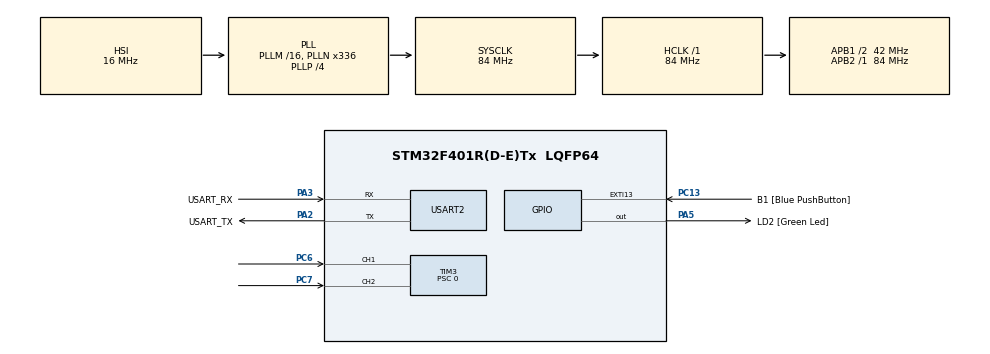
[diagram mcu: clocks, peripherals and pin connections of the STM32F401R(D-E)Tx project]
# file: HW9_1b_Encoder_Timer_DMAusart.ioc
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Dma.Request0=USART2_TX
Dma.USART2_TX.0.Direction=DMA_MEMORY_TO_PERIPH
Dma.USART2_TX.0.FIFOMode=DMA_FIFOMODE_DISABLE
Dma.USART2_TX.0.Instance=DMA1_Stream6
Dma.USART2_TX.0.MemDataAlignment=DMA_MDATAALIGN_BYTE
Dma.USART2_TX.0.MemInc=DMA_MINC_ENABLE
Dma.USART2_TX.0.Mode=DMA_NORMAL
Dma.USART2_TX.0.PeriphDataAlignment=DMA_PDATAALIGN_BYTE
Dma.USART2_TX.0.PeriphInc=DMA_PINC_DISABLE
Dma.USART2_TX.0.Priority=DMA_PRIORITY_LOW
Mcu.Family=STM32F4
Mcu.Name=STM32F401R(D-E)Tx
Mcu.Package=LQFP64
NVIC.DMA1_Stream6_IRQn=true\:0\:0\:false\:false\:true\:false\:true\:true
NVIC.PriorityGroup=NVIC_PRIORITYGROUP_0
NVIC.TIM2_IRQn=true\:0\:0\:false\:false\:true\:true\:true\:true
NVIC.TIM3_IRQn=true\:0\:0\:false\:false\:true\:true\:true\:true
NVIC.USART2_IRQn=true\:0\:0\:false\:false\:true\:true\:true\:true
PA13.GPIO_Label=TMS
PA13.Mode=Serial_Wire
PA13.Signal=SYS_JTMS-SWDIO
PA14.GPIO_Label=TCK
PA14.Mode=Serial_Wire
PA14.Signal=SYS_JTCK-SWCLK
PA2.GPIO_Label=USART_TX
PA2.GPIO_Mode=GPIO_MODE_AF_PP
PA2.GPIO_PuPd=GPIO_NOPULL
PA2.GPIO_Speed=GPIO_SPEED_FREQ_LOW
PA2.Mode=Asynchronous
PA2.Signal=USART2_TX
PA3.GPIO_Label=USART_RX
PA3.GPIO_Mode=GPIO_MODE_AF_PP
PA3.GPIO_PuPd=GPIO_NOPULL
PA3.GPIO_Speed=GPIO_SPEED_FREQ_LOW
PA3.Mode=Asynchronous
PA3.Signal=USART2_RX
PA5.GPIO_Label=LD2 [Green Led]
PA5.GPIO_Mode=GPIO_MODE_OUTPUT_PP
PA5.GPIO_PuPd=GPIO_NOPULL
PA5.GPIO_Speed=GPIO_SPEED_FREQ_LOW
PA5.Signal=GPIO_Output
PB3.GPIO_Label=SWO
PB3.Signal=SYS_JTDO-SWO
PC13-ANTI_TAMP.GPIO_Label=B1 [Blue PushButton]
PC13-ANTI_TAMP.GPIO_ModeDefaultEXTI=GPIO_MODE_IT_FALLING
PC13-ANTI_TAMP.GPIO_PuPd=GPIO_NOPULL
PC13-ANTI_TAMP.Signal=GPXTI13
PC14-OSC32_IN.Mode=LSE-External-Oscillator
PC14-OSC32_IN.Signal=RCC_OSC32_IN
PC15-OSC32_OUT.Mode=LSE-External-Oscillator
PC15-OSC32_OUT.Signal=RCC_OSC32_OUT
PC6.Signal=S_TIM3_CH1
PC7.Signal=S_TIM3_CH2
PH0\ -\ OSC_IN.Mode=HSE-External-Clock-Source
PH0\ -\ OSC_IN.Signal=RCC_OSC_IN
PH1\ -\ OSC_OUT.Mode=HSE-External-Clock-Source
PH1\ -\ OSC_OUT.Signal=RCC_OSC_OUT
ProjectManager.HeapSize=0x200
ProjectManager.StackSize=0x400
ProjectManager.TargetToolchain=STM32CubeIDE
RCC.48MHZClocksFreq_Value=48000000
RCC.AHBFreq_Value=84000000
RCC.APB1CLKDivider=RCC_HCLK_DIV2
RCC.APB1Freq_Value=42000000
RCC.APB1TimFreq_Value=84000000
RCC.APB2Freq_Value=84000000
RCC.APB2TimFreq_Value=84000000
RCC.CortexFreq_Value=84000000
RCC.HCLKFreq_Value=84000000
RCC.HSE_VALUE=8000000
RCC.HSI_VALUE=16000000
RCC.PLLN=336
RCC.PLLP=RCC_PLLP_DIV4
RCC.PLLQ=7
RCC.SYSCLKFreq_VALUE=84000000
RCC.SYSCLKSource=RCC_SYSCLKSOURCE_PLLCLK
RCC.VCOOutputFreq_Value=336000000
SH.S_TIM3_CH1.0=TIM3_CH1,Encoder_Interface
SH.S_TIM3_CH2.0=TIM3_CH2,Encoder_Interface
TIM2.Period=10000-1
TIM2.Prescaler=8400-1
TIM3.ClockDivision=TIM_CLOCKDIVISION_DIV4
TIM3.IC1Filter=15
TIM3.IC2Filter=15
TIM3.Period=65535
TIM3.Prescaler=0
USART2.VirtualMode=VM_ASYNC
VP_TIM2_VS_ClockSourceINT.Mode=Internal
board=NUCLEO-F401RE

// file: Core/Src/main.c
/* USER CODE BEGIN Header */
/**
  ******************************************************************************
  * @file           : main.c
  * @brief          : Main program body
  ******************************************************************************
  * @attention
  *
  * Copyright (c) 2022 STMicroelectronics.
  * All rights reserved.
  *
  * This software is licensed under terms that can be found in the LICENSE file
  * in the root directory of this software component.
  * If no LICENSE file comes with this software, it is provided AS-IS.
  *
  ******************************************************************************
  */
/* USER CODE END Header */
#include "main.h"

TIM_HandleTypeDef htim2;
TIM_HandleTypeDef htim3;

UART_HandleTypeDef huart2;
DMA_HandleTypeDef hdma_usart2_tx;

/* USER CODE BEGIN PV */

	char string[32];
	int len = 0;
	float res;
	int16_t count_old, count_new = 0;
	int16_t delta;

/* USER CODE END PV */

void SystemClock_Config(void);
static void MX_GPIO_Init(void);
static void MX_DMA_Init(void);
static void MX_USART2_UART_Init(void);
static void MX_TIM3_Init(void);
static void MX_TIM2_Init(void);

/* USER CODE BEGIN 0 */

void HAL_TIM_PeriodElapsedCallback(TIM_HandleTypeDef* htim){
	if(htim == &htim2){

	//using int16_t prevents the use of "if" for handling over/underflows
    //when doing the subtraction, values with MSB = 1 are considered as 2 complement
    //so their actual absolute value is calculated and it's much smaller respect to
    //the one obtained by considering it them as unsigned.
    //So the value 111111111111111 is actually considered as -1 instead of 2^16-1
    //The same principle applies for all the values with MSB = 1

		count_old = count_new;
		count_new = __HAL_TIM_GET_COUNTER(&htim3);

		delta = count_new-count_old;

		res = (delta)*60.0/24.0;
		len = snprintf(string, sizeof(string), "Velocity: %f rpms\r\n", res);

		HAL_UART_Transmit_DMA(&huart2, (uint8_t*)&string, len);

	}
}

/* USER CODE END 0 */

int main(void)
{

  /* MCU Configuration--------------------------------------------------------*/

  /* Reset of all peripherals, Initializes the Flash interface and the Systick. */
  HAL_Init();

  /* Configure the system clock */
  SystemClock_Config();

  /* Initialize all configured peripherals */
  MX_GPIO_Init();
  MX_DMA_Init();
  MX_USART2_UART_Init();
  MX_TIM3_Init();
  MX_TIM2_Init();
  /* USER CODE BEGIN 2 */

  HAL_TIM_Encoder_Start(&htim3, TIM_CHANNEL_ALL);

  HAL_TIM_Base_Start_IT(&htim2);

  /* USER CODE END 2 */

  /* Infinite loop */
  while (1)
  {

  }
}

void SystemClock_Config(void)
{
  RCC_OscInitTypeDef RCC_OscInitStruct = {0};
  RCC_ClkInitTypeDef RCC_ClkInitStruct = {0};

  /** Configure the main internal regulator output voltage
  */
  __HAL_RCC_PWR_CLK_ENABLE();
  __HAL_PWR_VOLTAGESCALING_CONFIG(PWR_REGULATOR_VOLTAGE_SCALE2);

  /** Initializes the RCC Oscillators according to the specified parameters
  * in the RCC_OscInitTypeDef structure.
  */
  RCC_OscInitStruct.OscillatorType = RCC_OSCILLATORTYPE_HSI;
  RCC_OscInitStruct.HSIState = RCC_HSI_ON;
  RCC_OscInitStruct.HSICalibrationValue = RCC_HSICALIBRATION_DEFAULT;
  RCC_OscInitStruct.PLL.PLLState = RCC_PLL_ON;
  RCC_OscInitStruct.PLL.PLLSource = RCC_PLLSOURCE_HSI;
  RCC_OscInitStruct.PLL.PLLM = 16;
  RCC_OscInitStruct.PLL.PLLN = 336;
  RCC_OscInitStruct.PLL.PLLP = RCC_PLLP_DIV4;
  RCC_OscInitStruct.PLL.PLLQ = 7;
  if (HAL_RCC_OscConfig(&RCC_OscInitStruct) != HAL_OK)
  {
    Error_Handler();
  }

  /** Initializes the CPU, AHB and APB buses clocks
  */
  RCC_ClkInitStruct.ClockType = RCC_CLOCKTYPE_HCLK|RCC_CLOCKTYPE_SYSCLK
                              |RCC_CLOCKTYPE_PCLK1|RCC_CLOCKTYPE_PCLK2;
  RCC_ClkInitStruct.SYSCLKSource = RCC_SYSCLKSOURCE_PLLCLK;
  RCC_ClkInitStruct.AHBCLKDivider = RCC_SYSCLK_DIV1;
  RCC_ClkInitStruct.APB1CLKDivider = RCC_HCLK_DIV2;
  RCC_ClkInitStruct.APB2CLKDivider = RCC_HCLK_DIV1;

  if (HAL_RCC_ClockConfig(&RCC_ClkInitStruct, FLASH_LATENCY_2) != HAL_OK)
  {
    Error_Handler();
  }
}

static void MX_TIM2_Init(void)
{

  TIM_ClockConfigTypeDef sClockSourceConfig = {0};
  TIM_MasterConfigTypeDef sMasterConfig = {0};

  htim2.Instance = TIM2;
  htim2.Init.Prescaler = 8400-1;
  htim2.Init.CounterMode = TIM_COUNTERMODE_UP;
  htim2.Init.Period = 10000-1;
  htim2.Init.ClockDivision = TIM_CLOCKDIVISION_DIV1;
  htim2.Init.AutoReloadPreload = TIM_AUTORELOAD_PRELOAD_DISABLE;
  if (HAL_TIM_Base_Init(&htim2) != HAL_OK)
  {
    Error_Handler();
  }
  sClockSourceConfig.ClockSource = TIM_CLOCKSOURCE_INTERNAL;
  if (HAL_TIM_ConfigClockSource(&htim2, &sClockSourceConfig) != HAL_OK)
  {
    Error_Handler();
  }
  sMasterConfig.MasterOutputTrigger = TIM_TRGO_RESET;
  sMasterConfig.MasterSlaveMode = TIM_MASTERSLAVEMODE_DISABLE;
  if (HAL_TIMEx_MasterConfigSynchronization(&htim2, &sMasterConfig) != HAL_OK)
  {
    Error_Handler();
  }

}

static void MX_TIM3_Init(void)
{

  TIM_Encoder_InitTypeDef sConfig = {0};
  TIM_MasterConfigTypeDef sMasterConfig = {0};

  htim3.Instance = TIM3;
  htim3.Init.Prescaler = 0;
  htim3.Init.CounterMode = TIM_COUNTERMODE_UP;
  htim3.Init.Period = 65535;
  htim3.Init.ClockDivision = TIM_CLOCKDIVISION_DIV4;
  htim3.Init.AutoReloadPreload = TIM_AUTORELOAD_PRELOAD_DISABLE;
  sConfig.EncoderMode = TIM_ENCODERMODE_TI1;
  sConfig.IC1Polarity = TIM_ICPOLARITY_RISING;
  sConfig.IC1Selection = TIM_ICSELECTION_DIRECTTI;
  sConfig.IC1Prescaler = TIM_ICPSC_DIV1;
  sConfig.IC1Filter = 15;
  sConfig.IC2Polarity = TIM_ICPOLARITY_RISING;
  sConfig.IC2Selection = TIM_ICSELECTION_DIRECTTI;
  sConfig.IC2Prescaler = TIM_ICPSC_DIV1;
  sConfig.IC2Filter = 15;
  if (HAL_TIM_Encoder_Init(&htim3, &sConfig) != HAL_OK)
  {
    Error_Handler();
  }
  sMasterConfig.MasterOutputTrigger = TIM_TRGO_RESET;
  sMasterConfig.MasterSlaveMode = TIM_MASTERSLAVEMODE_DISABLE;
  if (HAL_TIMEx_MasterConfigSynchronization(&htim3, &sMasterConfig) != HAL_OK)
  {
    Error_Handler();
  }

}

static void MX_USART2_UART_Init(void)
{

  huart2.Instance = USART2;
  huart2.Init.BaudRate = 115200;
  huart2.Init.WordLength = UART_WORDLENGTH_8B;
  huart2.Init.StopBits = UART_STOPBITS_1;
  huart2.Init.Parity = UART_PARITY_NONE;
  huart2.Init.Mode = UART_MODE_TX_RX;
  huart2.Init.HwFlowCtl = UART_HWCONTROL_NONE;
  huart2.Init.OverSampling = UART_OVERSAMPLING_16;
  if (HAL_UART_Init(&huart2) != HAL_OK)
  {
    Error_Handler();
  }

}

static void MX_DMA_Init(void)
{

  /* DMA controller clock enable */
  __HAL_RCC_DMA1_CLK_ENABLE();

  /* DMA interrupt init */
  /* DMA1_Stream6_IRQn interrupt configuration */
  HAL_NVIC_SetPriority(DMA1_Stream6_IRQn, 0, 0);
  HAL_NVIC_EnableIRQ(DMA1_Stream6_IRQn);

}

static void MX_GPIO_Init(void)
{
  GPIO_InitTypeDef GPIO_InitStruct = {0};

  /* GPIO Ports Clock Enable */
  __HAL_RCC_GPIOC_CLK_ENABLE();
  __HAL_RCC_GPIOH_CLK_ENABLE();
  __HAL_RCC_GPIOA_CLK_ENABLE();
  __HAL_RCC_GPIOB_CLK_ENABLE();

  /*Configure GPIO pin Output Level */
  HAL_GPIO_WritePin(LD2_GPIO_Port, LD2_Pin, GPIO_PIN_RESET);

  /*Configure GPIO pin : B1_Pin */
  GPIO_InitStruct.Pin = B1_Pin;
  GPIO_InitStruct.Mode = GPIO_MODE_IT_FALLING;
  GPIO_InitStruct.Pull = GPIO_NOPULL;
  HAL_GPIO_Init(B1_GPIO_Port, &GPIO_InitStruct);

  /*Configure GPIO pin : LD2_Pin */
  GPIO_InitStruct.Pin = LD2_Pin;
  GPIO_InitStruct.Mode = GPIO_MODE_OUTPUT_PP;
  GPIO_InitStruct.Pull = GPIO_NOPULL;
  GPIO_InitStruct.Speed = GPIO_SPEED_FREQ_LOW;
  HAL_GPIO_Init(LD2_GPIO_Port, &GPIO_InitStruct);

}

void Error_Handler(void)
{
  __disable_irq();
  while (1)
  {
  }
}
